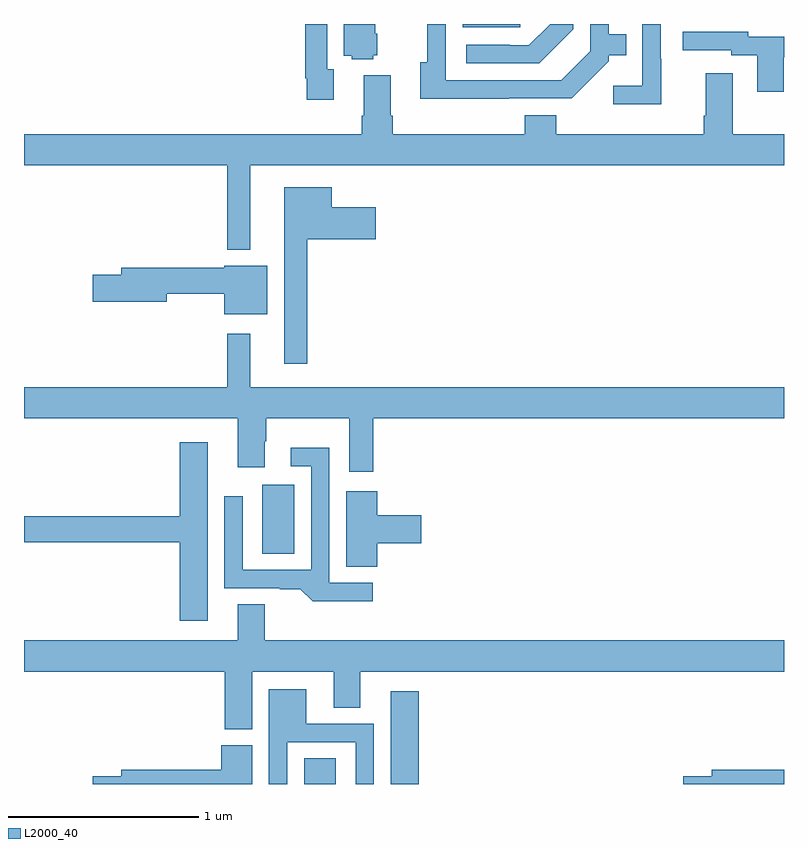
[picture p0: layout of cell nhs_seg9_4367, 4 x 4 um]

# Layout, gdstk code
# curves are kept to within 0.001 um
import gdstk
lib = gdstk.Library(unit=1e-6, precision=1e-09)
def R(c, l, rs):  # rectangles x0, y0, x1, y1
    for r in rs: c.add(gdstk.rectangle(r[:2], r[2:], *l))
def P(c, l, *ps):  # polygons
    for p in ps: c.add(gdstk.Polygon(p, *l))
L2000_40 = (2000, 40)

nhs_seg9_4367 = lib.new_cell('nhs_seg9_4367')
R(nhs_seg9_4367, L2000_40, [(362.474,1190.5,362.641,1190.636), (362.93,1190.5,363.077,1190.989), (362.255,1191.712,362.422,1192.075), (363.308,1194.483,363.613,1194.5)])
P(nhs_seg9_4367, L2000_40, [(363.551,1194.108),(363.882,1194.108),(364.077,1194.303),(364.077,1194.335),(364.169,1194.335),(364.169,1194.445),(364.078,1194.445),(364.078,1194.5),(363.981,1194.5),(363.981,1194.357),(363.828,1194.204),(363.219,1194.204),(363.219,1194.5),(363.123,1194.5),(363.123,1194.298),(363.086,1194.298),(363.086,1194.107)],
  [(362.629,1194.263),(362.595,1194.263),(362.595,1194.5),(362.479,1194.5),(362.479,1194.214),(362.487,1194.214),(362.487,1194.102),(362.629,1194.102)],
  [(362.838,1194.336),(362.86,1194.336),(362.86,1194.45),(362.848,1194.45),(362.848,1194.5),(362.684,1194.5),(362.684,1194.332),(362.724,1194.332),(362.724,1194.314),(362.838,1194.314)],
  [(363.891,1194.473),(363.891,1194.5),(363.77,1194.5),(363.657,1194.387),(363.557,1194.387),(363.557,1194.39),(363.327,1194.39),(363.327,1194.294),(363.712,1194.294)],
  [(364.353,1194.317),(364.35,1194.317),(364.35,1194.5),(364.254,1194.5),(364.254,1194.175),(364.101,1194.175),(364.101,1194.077),(364.353,1194.077)],
  [(364.999,1194.324),(365,1194.324),(365,1194.432),(364.812,1194.432),(364.812,1194.459),(364.467,1194.459),(364.467,1194.363),(364.722,1194.363),(364.722,1194.336),(364.859,1194.336),(364.859,1194.144),(364.999,1194.144)],
  [(362.191,1193.756),(365,1193.756),(365,1193.92),(364.729,1193.92),(364.729,1194.241),(364.589,1194.241),(364.589,1194.016),(364.577,1194.016),(364.577,1193.92),(363.8,1193.92),(363.8,1194.019),(363.635,1194.019),(363.635,1193.92),(362.942,1193.92),(362.942,1194.016),(362.929,1194.016),(362.929,1194.229),(362.789,1194.229),(362.789,1194.016),(362.777,1194.016),(362.777,1193.92),(361,1193.92),(361,1193.756),(362.07,1193.756),(362.07,1193.312),(362.191,1193.312)],
  [(362.491,1193.366),(362.851,1193.366),(362.851,1193.536),(362.62,1193.536),(362.62,1193.641),(362.369,1193.641),(362.369,1192.713),(362.491,1192.713)],
  [(362.281,1193.227),(362.054,1193.227),(362.054,1193.216),(361.511,1193.216),(361.511,1193.18),(361.362,1193.18),(361.362,1193.038),(361.75,1193.038),(361.75,1193.08),(362.054,1193.08),(362.054,1192.973),(362.281,1192.973)],
  [(362.837,1192.424),(365,1192.424),(365,1192.588),(362.191,1192.588),(362.191,1192.87),(362.07,1192.87),(362.07,1192.588),(361,1192.588),(361,1192.424),(362.126,1192.424),(362.126,1192.167),(362.266,1192.167),(362.266,1192.304),(362.274,1192.304),(362.274,1192.424),(362.711,1192.424),(362.711,1192.143),(362.837,1192.143)],
  [(361.966,1192.3),(361.82,1192.3),(361.82,1191.908),(361,1191.908),(361,1191.772),(361.82,1191.772),(361.82,1191.36),(361.966,1191.36)],
  [(362.836,1191.558),(362.607,1191.558),(362.607,1192.27),(362.403,1192.27),(362.403,1192.173),(362.511,1192.173),(362.511,1191.627),(362.151,1191.627),(362.151,1192.015),(362.055,1192.015),(362.055,1191.531),(362.345,1191.531),(362.345,1191.526),(362.453,1191.526),(362.519,1191.461),(362.836,1191.461)],
  [(362.858,1191.767),(363.091,1191.767),(363.091,1191.914),(362.858,1191.914),(362.858,1192.042),(362.696,1192.042),(362.696,1191.643),(362.858,1191.643)],
  [(362.2,1191.092),(362.63,1191.092),(362.63,1190.902),(362.77,1190.902),(362.77,1191.092),(365,1191.092),(365,1191.256),(362.266,1191.256),(362.266,1191.446),(362.126,1191.446),(362.126,1191.256),(361,1191.256),(361,1191.092),(362.057,1191.092),(362.057,1190.788),(362.2,1190.788)],
  [(362.385,1190.721),(362.745,1190.721),(362.745,1190.5),(362.841,1190.5),(362.841,1190.817),(362.485,1190.817),(362.485,1190.998),(362.289,1190.998),(362.289,1190.5),(362.385,1190.5)],
  [(362.2,1190.703),(362.039,1190.703),(362.039,1190.576),(361.511,1190.576),(361.511,1190.54),(361.362,1190.54),(361.362,1190.5),(362.2,1190.5)],
  [(365,1190.576),(364.619,1190.576),(364.619,1190.54),(364.47,1190.54),(364.47,1190.5),(365,1190.5)])

lib.write_gds('nhs_seg9_4367.gds')
